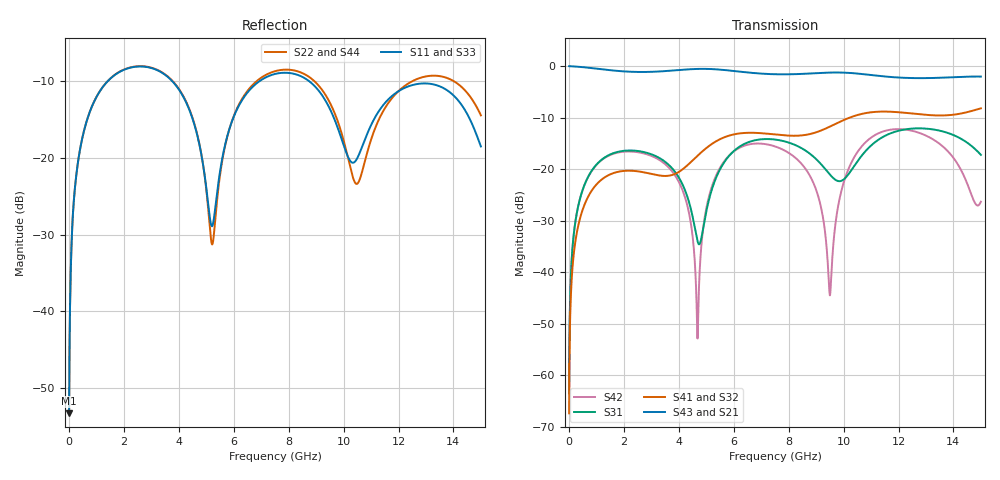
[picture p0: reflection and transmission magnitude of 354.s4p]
! Created with skrf 1.8.0 (http://scikit-rf.org).
# GHz S RI R 50.0
!freq ReS11 ImS11 ReS12 ImS12 ReS13 ImS13
! ReS14 ImS14
! ReS21 ImS21 ReS22 ImS22 ReS23 ImS23
! ReS24 ImS24
! ReS31 ImS31 ReS32 ImS32 ReS33 ImS33
! ReS34 ImS34
! ReS41 ImS41 ReS42 ImS42 ReS43 ImS43
! ReS44 ImS44
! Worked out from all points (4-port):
!   2499 points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, 5 MHz to 15 GHz, reference 50 ohm
!   strongest paths, dB at 5 MHz, 3.476 GHz, 7.19 GHz, 11.1 GHz, 15 GHz:
!     S43: 0.0, -1.0, -1.5, -1.8, -2.0
!     S21: 0.0, -1.0, -1.5, -1.8, -2.0
!     S41: -67.4, -21.3, -13.1, -8.9, -8.2
!     S32: -67.4, -21.3, -13.1, -8.9, -8.2
!     S31: -63.5, -18.5, -14.2, -15.0, -17.2
!     S42: -63.5, -18.9, -15.2, -13.5, -26.3
!   lowest |S11| = -53.3 dB at 5 MHz (marker M1), VSWR 1.00, Z = 50.2 + j0.132 ohm
!   |S11| at or under -10 dB: start of sweep to 1.408 GHz; 3.764 GHz to 6.932 GHz (3.168 GHz wide, 59.2 % of centre); 8.75 GHz to end of sweep
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0.005  0.00172 0.00131  0.9982 -0.00336  8.62e-05 0.000665  -8.38e-05 -0.00042
       0.9982 -0.00336  0.00172 0.00131  -8.38e-05 -0.00042  8.61e-05 0.000665
       8.62e-05 0.000665  -8.38e-05 -0.00042  0.00172 0.00131  0.9982 -0.00336
       -8.38e-05 -0.00042  8.61e-05 0.000665  0.9982 -0.00336  0.00172 0.00131
1.569404  0.2893 0.1721  0.5064 -0.7538  0.1327 0.049  -0.0906 0.000537
          0.5064 -0.7538  0.2912 0.1706  -0.0906 0.000457  0.1274 0.057
          0.1327 0.049  -0.0906 0.000457  0.2893 0.1721  0.5064 -0.7538
          -0.0906 0.000537  0.1274 0.057  0.5064 -0.7538  0.2911 0.1706
4.683201  0.0727 -0.1171  -0.8646 -0.365  -0.0176 -0.00948  -0.048 0.1263
          -0.8646 -0.365  0.0652 -0.1232  -0.049 0.1259  -0.00225 -0.0003
          -0.0176 -0.00948  -0.049 0.1259  0.0721 -0.1167  -0.8647 -0.365
          -0.048 0.1263  -0.00225 -0.0003  -0.8647 -0.365  0.0653 -0.1225
8.009587  0.3578 -0.0182  -0.0207 0.8316  0.1391 -0.1156  0.2034 -0.0578
          -0.0207 0.8316  0.3746 -0.033  0.2036 -0.0555  0.1363 -0.0446
          0.1391 -0.1156  0.2036 -0.0555  0.3572 -0.0166  -0.0213 0.8321
          0.2034 -0.0578  0.1363 -0.0446  -0.0213 0.8321  0.3732 -0.0341
9.497707  0.166 -0.1278  0.643 0.5783  -0.0591 -0.0665  0.166 -0.1983
          0.643 0.5783  0.1618 -0.1634  0.1682 -0.1962  -0.00506 -0.00322
          -0.0591 -0.0665  0.1682 -0.1962  0.1671 -0.124  0.6431 0.579
          0.166 -0.1983  -0.00506 -0.00322  0.6431 0.579  0.1578 -0.1639
11.20467  0.1681 0.0924  0.7672 -0.2537  0.1167 0.1471  -0.1573 -0.3242
          0.7672 -0.2537  0.1361 0.0938  -0.1527 -0.3244  0.1452 0.1634
          0.1167 0.1471  -0.1527 -0.3244  0.1743 0.0934  0.7673 -0.2524
          -0.1573 -0.3242  0.1452 0.1634  0.7673 -0.2524  0.1304 0.0969
15  0.1083 -0.049  -0.6229 -0.4864  -0.0914 -0.1031  -0.2263 0.3167
    -0.6229 -0.4864  0.1236 -0.1438  -0.234 0.3104  0.042 0.0239
    -0.0914 -0.1031  -0.234 0.3104  0.1041 -0.0493  -0.6213 -0.4895
    -0.2263 0.3167  0.042 0.0239  -0.6213 -0.4895  0.1236 -0.1391
